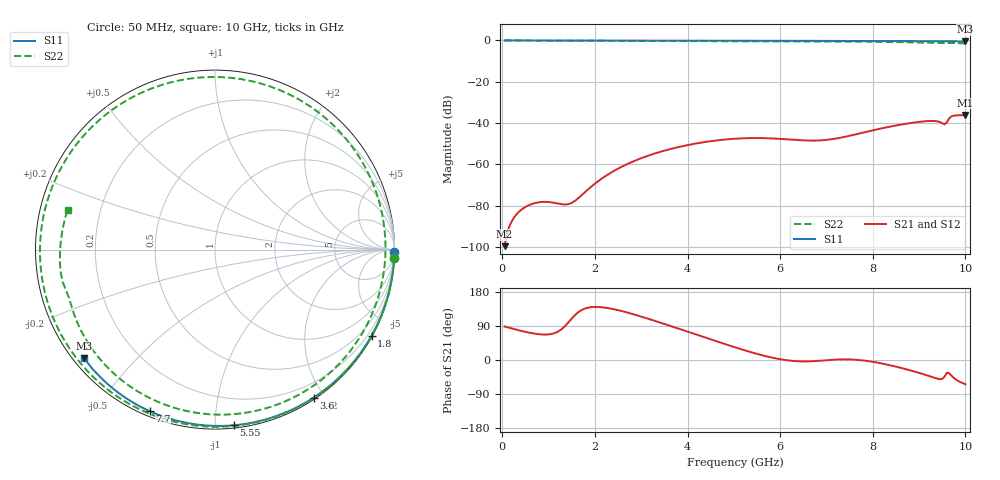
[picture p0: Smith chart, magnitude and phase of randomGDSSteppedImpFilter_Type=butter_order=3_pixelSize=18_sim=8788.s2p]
! freq	dB(S11)	phase(S11)	dB(S12)	phase(S12)
!  dB(S21)	phase(S21)	dB(S22)	phase(S22)
!S-par simulation data
#  GHz  S  DB  R 50
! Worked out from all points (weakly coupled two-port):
!   200 points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, 50 MHz to 10 GHz, reference 50 ohm
!   highest |S21| = -36.12 dB at 10 GHz (marker M1); lowest = -99.5 dB at 50 MHz (marker M2)
!   lowest |S11| = -0.5 dB at 10 GHz (marker M3), VSWR 36.68, Z = 1.54 - j18 ohm
!   |S11| at or under -10 dB: nowhere
!   |S22| runs from -1.4 to 0.0 dB; largest |S21 - S12| = 0
!   S11 on the Smith chart (normalised r, x): 50 MHz: open; 1.8 GHz: 0.03, -3.88; 3.6 GHz: 0.02, -1.87; 5.55 GHz: 0.02, -1.11; 7.7 GHz: 0.02, -0.67; 10 GHz: 0.03, -0.36
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0.05  -0.00 -0.8  -99.53 88.3  -99.53 88.3  -0.00 -2.6
0.5  -0.01 -8.1  -80.55 74.2  -80.55 74.2  -0.03 -25.7
1  -0.02 -16.2  -78.17 67.6  -78.17 67.6  -0.06 -51.1
1.45  -0.03 -23.3  -79.04 102.5  -79.04 102.5  -0.09 -73.5
1.75  -0.04 -28.1  -74.11 134.0  -74.11 134.0  -0.11 -88.2
1.8  -0.04 -28.9  -73.10 136.3  -73.10 136.3  -0.11 -90.6
2.55  -0.05 -40.5  -61.44 130.0  -61.44 130.0  -0.15 -126.7
3.4  -0.07 -53.4  -53.96 99.1  -53.96 99.1  -0.20 -168.1
3.6  -0.08 -56.3  -52.71 91.1  -52.71 91.1  -0.22 -178.1
4.3  -0.09 -66.5  -49.41 62.7  -49.41 62.7  -0.27 145.1
5.05  -0.12 -77.1  -47.51 32.5  -47.51 32.5  -0.32 102.3
5.55  -0.14 -84.0  -47.24 14.5  -47.24 14.5  -0.36 71.8
6.15  -0.16 -92.0  -47.84 -0.7  -47.84 -0.7  -0.40 34.4
6.7  -0.19 -99.3  -48.45 -3.3  -48.45 -3.3  -0.44 0.6
7.15  -0.22 -105.0  -47.67 0.8  -47.67 0.8  -0.49 -25.9
7.7  -0.26 -112.0  -45.07 -0.0  -45.07 -0.0  -0.58 -56.8
8.35  -0.31 -120.1  -41.80 -13.2  -41.80 -13.2  -0.74 -92.0
8.8  -0.35 -125.7  -40.00 -27.0  -40.00 -27.0  -0.90 -116.7
9.3  -0.40 -131.8  -38.95 -45.6  -38.95 -45.6  -1.16 -146.1
9.55  -0.42 -134.9  -40.56 -43.8  -40.56 -43.8  -1.34 -161.5
9.7  -0.43 -136.8  -36.72 -41.4  -36.72 -41.4  -1.22 -171.9
10  -0.47 -140.4  -36.12 -64.0  -36.12 -64.0  -1.40 164.8
